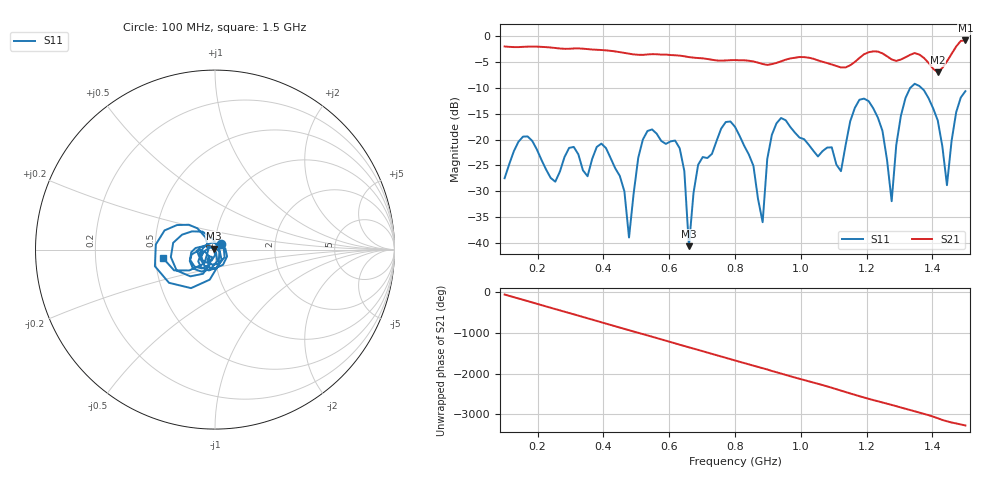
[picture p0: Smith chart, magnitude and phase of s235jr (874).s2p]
! NanoVNA-App
! Date: 2025-09-25 15:10:58
! Start: 100MHz Stop: 1,5GHz Points: 101
! S-Parameter data: F S11 S21 S12 S22
# Hz S RI R 50
!  Frequency  S11_Real  S11_Imag  S21_Real  S21_Imag  S12_Real  S12_Imag  S22_Real  S22_Imag
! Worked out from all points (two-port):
!   101 points, 100 MHz to 1.5 GHz, reference 50 ohm
!   highest |S21| = -0.80 dB at 1.5 GHz (marker M1); lowest = -7.0 dB at 1.416 GHz (marker M2)
!   |S21| within 3 dB of the highest: start of sweep to 639.2 MHz; 1.186 GHz to 1.26 GHz (74.72 MHz wide, 6.11 % of centre) (the widest 2 of 4)
!   lowest |S11| = -40.6 dB at 660 MHz (marker M3), VSWR 1.02, Z = 49.3 + j0.601 ohm
!   |S11| at or under -10 dB: start of sweep to 1.332 GHz; 1.367 GHz to end of sweep
!   S12 and S22 are empty: the file has one direction only
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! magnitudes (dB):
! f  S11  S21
! 100 MHz  -27.5  -2.0
! 156 MHz  -19.4  -2.0
! 338 MHz  -25.9  -2.4
! 408 MHz  -21.6  -2.7
! 478 MHz  -38.9  -3.4
! 520 MHz  -20.0  -3.6
! 576 MHz  -20.3  -3.5
! 632 MHz  -21.7  -3.7
! 660 MHz  -40.6  -4.0
! 688 MHz  -24.9  -4.2
! 800 MHz  -17.5  -4.6
! 884 MHz  -36.0  -5.3
! 926 MHz  -16.8  -5.1
! 1.038 GHz  -22.1  -4.3
! 1.122 GHz  -26.1  -6.0
! 1.206 GHz  -12.5  -3.1
! 1.248 GHz  -18.3  -3.3
! 1.276 GHz  -31.9  -4.5
! 1.332 GHz  -10.0  -3.6
! 1.416 GHz  -16.3  -7.0
! 1.444 GHz  -28.8  -4.8
! 1.5 GHz  -10.6  -0.8
